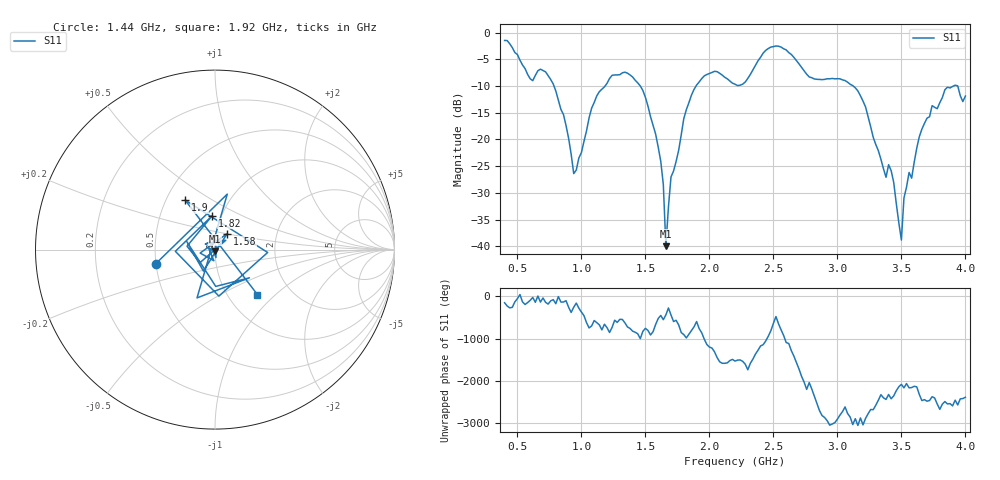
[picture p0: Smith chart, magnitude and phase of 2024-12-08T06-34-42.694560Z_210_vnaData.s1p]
!Created with skrf (http://scikit-rf.org).
# Hz S RI R 50.0
!freq ReS11 ImS11
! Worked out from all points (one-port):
!   181 points, 400 MHz to 4 GHz, reference 50 ohm
!   lowest |S11| = -40.0 dB at 1.66 GHz (marker M1), VSWR 1.02, Z = 50.1 - j0.997 ohm
!   |S11| at or under -10 dB: 785.6 MHz to 1.185 GHz (399.5 MHz wide, 40.5 % of centre); 1.46 GHz to 1.896 GHz (435.5 MHz wide, 26 % of centre); 3.123 GHz to 3.907 GHz (784.2 MHz wide, 22.3 % of centre) (the widest 3 of 4)
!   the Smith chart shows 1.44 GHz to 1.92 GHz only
!   S11 on the Smith chart (normalised r, x): 1.44 GHz: 0.50, -0.09; 1.58 GHz: 1.13, +0.20; 1.82 GHz: 0.90, +0.36; 1.9 GHz: 0.62, +0.38; 1.92 GHz: 1.36, -0.78
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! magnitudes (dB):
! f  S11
! 400 MHz  -1.5
! 600 MHz  -8.7
! 720 MHz  -7.4
! 860 MHz  -15.3
! 940 MHz  -26.4
! 1.12 GHz  -11.9
! 1.3 GHz  -7.9
! 1.44 GHz  -9.4
! 1.58 GHz  -19.0
! 1.64 GHz  -28.4
! 1.66 GHz  -40.0
! 1.7 GHz  -27.0
! 1.76 GHz  -22.0
! 1.82 GHz  -14.4
! 1.9 GHz  -9.8
! 1.92 GHz  -9.2
! 2.2 GHz  -9.7
! 2.48 GHz  -2.7
! 2.66 GHz  -4.6
! 3.1 GHz  -9.7
! 3.22 GHz  -13.9
! 3.38 GHz  -27.1
! 3.42 GHz  -25.8
! 3.5 GHz  -38.8
! 3.52 GHz  -30.9
! 3.56 GHz  -26.2
! 3.74 GHz  -13.7
! 4 GHz  -11.9
